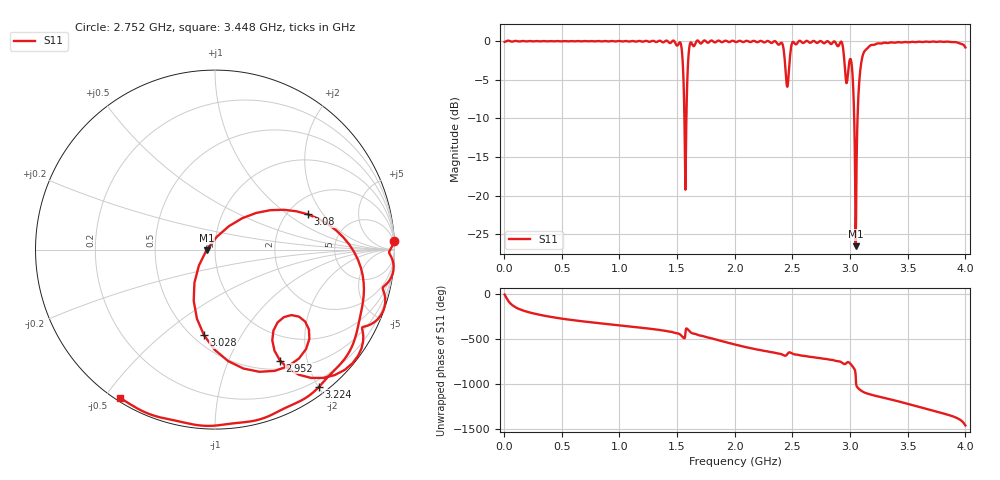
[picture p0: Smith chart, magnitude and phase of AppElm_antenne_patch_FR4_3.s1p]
! TOUCHSTONE file generated by CST MICROWAVE STUDIO
! Date and time: Tue Jun  7 21:57:00 2022
! Project name: AppElm_antenne_patch_FR4.cst
! Parameters = {L=45; W=58.5; e=0.035; h=1.6; lambda=0.190476; ls=102; w0=1.6; w1=0.533; ws=120; y0=20; y1=23.81}
! Header version: 2018
! Port assignment regex: !\s*Touchstone port\s*([0-9]+)\s*=\s*(CST MWS port|CST DS port)\s*([0-9]+|Zmin|Zmax)\s*\(\"(.*)\"\)(\s*mode\s*([0-9]+))?.*
! Touchstone port assignment:
! Touchstone port 1 = CST MWS port 1 ("")
# GHz S MA R 50
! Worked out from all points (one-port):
!   1000 points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, 4 MHz to 4 GHz, reference 50 ohm
!   lowest |S11| = -26.6 dB at 3.048 GHz (marker M1), VSWR 1.10, Z = 45.5 - j0.221 ohm
!   |S11| at or under -10 dB: 1.563 GHz to 1.58 GHz (17.2 MHz wide, 1.09 % of centre); 3.036 GHz to 3.065 GHz (28.88 MHz wide, 0.947 % of centre)
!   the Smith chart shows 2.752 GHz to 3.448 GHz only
!   S11 on the Smith chart (normalised r, x): 2.752 GHz: 2, +44; 2.952 GHz: 0.62, -1.57; 3.028 GHz: 0.57, -0.71; 3.08 GHz: 2.56, +1.45; 3.224 GHz: 0.11, -2.01; 3.448 GHz: 0.01, -0.55
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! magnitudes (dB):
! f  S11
! 4 MHz  -0.1
! 504 MHz  0.0
! 1.004 GHz  0.0
! 1.504 GHz  -0.5
! 1.536 GHz  -0.6
! 1.56 GHz  -7.5
! 1.572 GHz  -19.2
! 1.588 GHz  -5.2
! 1.604 GHz  -1.0
! 1.624 GHz  -0.2
! 2.004 GHz  -0.1
! 2.4 GHz  -0.2
! 2.456 GHz  -5.9
! 2.504 GHz  -0.1
! 2.752 GHz  0.0
! 2.92 GHz  -0.1
! 2.952 GHz  -2.9
! 3.004 GHz  -2.3
! 3.02 GHz  -4.1
! 3.028 GHz  -6.3
! 3.048 GHz  -26.6
! 3.064 GHz  -10.2
! 3.08 GHz  -5.1
! 3.12 GHz  -1.4
! 3.224 GHz  -0.4
! 3.448 GHz  -0.2
! 3.504 GHz  -0.1
! 4 GHz  -0.8
